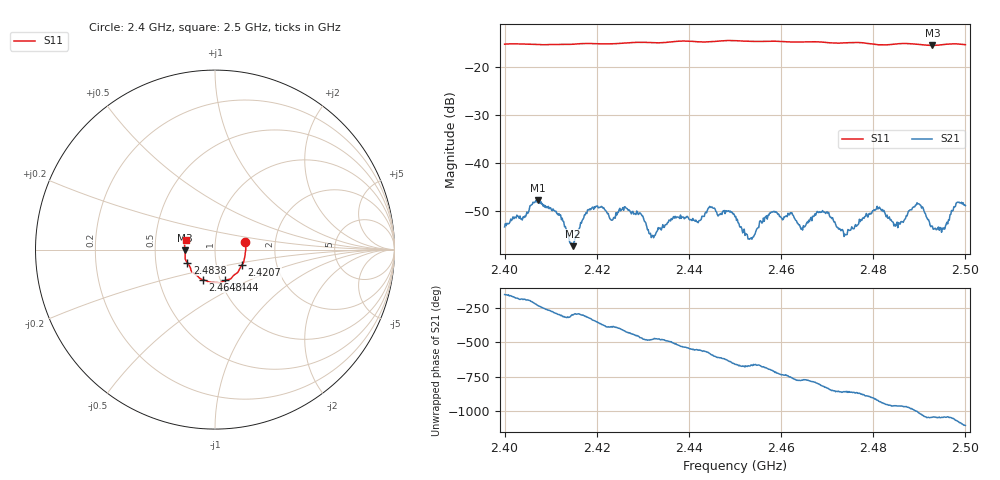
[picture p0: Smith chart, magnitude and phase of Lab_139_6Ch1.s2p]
# Hz S RI R 50
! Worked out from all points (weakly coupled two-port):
!   601 points, 2.4 GHz to 2.5 GHz, reference 50 ohm
!   highest |S21| = -47.73 dB at 2.4072 GHz (marker M1); lowest = -57.3 dB at 2.4148 GHz (marker M2)
!   lowest |S11| = -15.6 dB at 2.4928 GHz (marker M3), VSWR 1.40, Z = 35.7 - j0.303 ohm
!   |S11| at or under -10 dB: start of sweep to end of sweep
!   S12 and S22 are empty: the file has one direction only
!   S11 on the Smith chart (normalised r, x): 2.4 GHz: 1.39, +0.12; 2.4207 GHz: 1.33, -0.24; 2.444 GHz: 1.05, -0.37; 2.4648 GHz: 0.83, -0.29; 2.4838 GHz: 0.73, -0.11; 2.5 GHz: 0.72, +0.08
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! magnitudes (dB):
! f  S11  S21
! 2.4 GHz  -15.3  -53.3
! 2.4072 GHz  -15.4  -47.7
! 2.4117 GHz  -15.4  -50.8
! 2.4148 GHz  -15.3  -57.3
! 2.4167 GHz  -15.2  -52.5
! 2.4207 GHz  -15.2  -49.2
! 2.4292 GHz  -14.9  -50.6
! 2.4333 GHz  -15.0  -53.4
! 2.444 GHz  -14.9  -49.8
! 2.45 GHz  -14.6  -51.2
! 2.4533 GHz  -14.7  -55.7
! 2.4583 GHz  -14.7  -50.1
! 2.4648 GHz  -14.9  -53.0
! 2.4667 GHz  -14.8  -52.0
! 2.4698 GHz  -15.0  -50.3
! 2.4738 GHz  -15.0  -54.8
! 2.481 GHz  -15.4  -49.5
! 2.4833 GHz  -15.4  -51.4
! 2.4838 GHz  -15.4  -51.8
! 2.4898 GHz  -15.4  -48.4
! 2.4928 GHz  -15.6  -53.1
! 2.5 GHz  -15.4  -48.9
